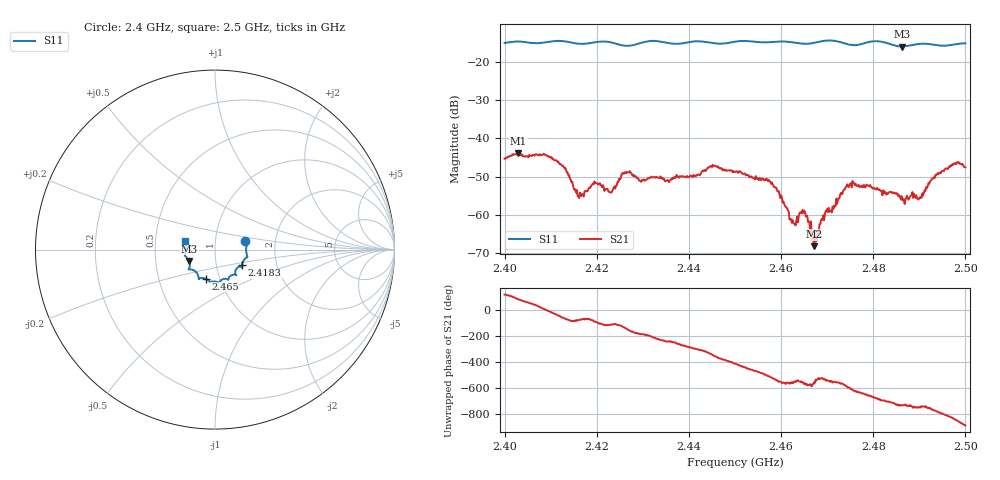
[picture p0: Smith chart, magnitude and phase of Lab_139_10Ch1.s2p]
# Hz S RI R 50
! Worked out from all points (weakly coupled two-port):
!   601 points, 2.4 GHz to 2.5 GHz, reference 50 ohm
!   highest |S21| = -43.87 dB at 2.403 GHz (marker M1); lowest = -68.1 dB at 2.4672 GHz (marker M2)
!   lowest |S11| = -16.1 dB at 2.4862 GHz (marker M3), VSWR 1.37, Z = 37.2 - j4.87 ohm
!   |S11| at or under -10 dB: start of sweep to end of sweep
!   S12 and S22 are empty: the file has one direction only
!   S11 on the Smith chart (normalised r, x): 2.4 GHz: 1.40, +0.14; 2.4183 GHz: 1.33, -0.24; 2.465 GHz: 0.86, -0.29; 2.5 GHz: 0.71, +0.07
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2.4e9  0.1681 0.0472  -0.00226 0.00492  0 0  0 0
2.403e9  0.1794 0.0323  0.00126 0.00628  0 0  0 0
2.411333e9  0.181 -0.0393  0.00393 -0.0033  0 0  0 0
2.416667e9  0.1555 -0.0679  0.000485 -0.00173  0 0  0 0
2.418333e9  0.1501 -0.0864  0.000669 -0.00217  0 0  0 0
2.423e9  0.149 -0.0977  -0.000861 -0.00177  0 0  0 0
2.426667e9  0.121 -0.1049  -0.0032 -0.00166  0 0  0 0
2.433333e9  0.1171 -0.1415  -0.00219 0.00214  0 0  0 0
2.445167e9  0.061 -0.1626  0.00441 0.000933  0 0  0 0
2.45e9  0.0258 -0.1795  0.00209 -0.00296  0 0  0 0
2.457833e9  -0.0154 -0.1783  -0.00239 -0.00089  0 0  0 0
2.462667e9  -0.0346 -0.1737  -0.000731 0.000279  0 0  0 0
2.465e9  -0.0527 -0.1619  -0.001 0.000542  0 0  0 0
2.466667e9  -0.0708 -0.1578  -0.00034 0.000376  0 0  0 0
2.467167e9  -0.0758 -0.1579  -0.000374 0.000119  0 0  0 0
2.4695e9  -0.09 -0.1633  -0.00101 -9.17e-05  0 0  0 0
2.474667e9  -0.0987 -0.1343  -0.0012 0.00196  0 0  0 0
2.483333e9  -0.1415 -0.0966  0.00188 0.000521  0 0  0 0
2.486167e9  -0.1432 -0.0638  0.00172 -0.000368  0 0  0 0
2.49e9  -0.1656 -0.0367  0.00149 -0.000796  0 0  0 0
2.494e9  -0.1624 -0.00905  0.00163 -0.00311  0 0  0 0
2.5e9  -0.1657 0.0475  -0.00406 -0.000977  0 0  0 0
